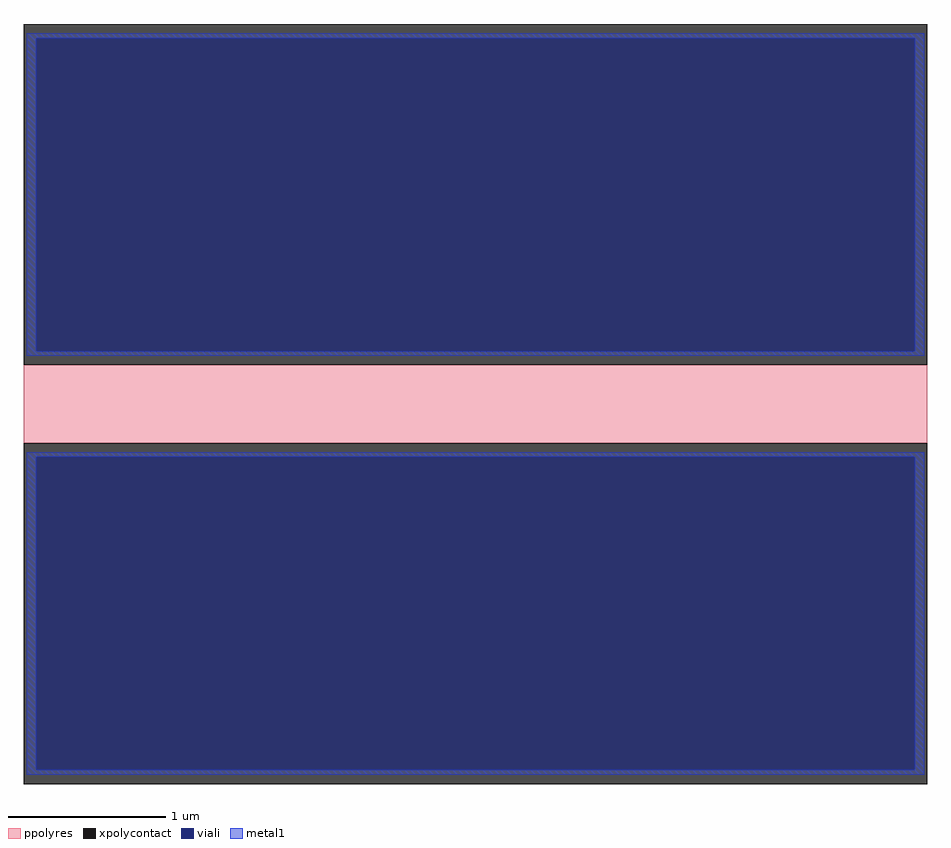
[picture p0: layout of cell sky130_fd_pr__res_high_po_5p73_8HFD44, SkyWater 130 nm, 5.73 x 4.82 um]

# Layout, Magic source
magic
tech sky130B
magscale 1 2
<< xpolycontact >>
rect -573 50 573 482
rect -573 -482 573 -50
<< ppolyres >>
rect -573 -50 573 50
<< viali >>
rect -557 67 557 464
rect -557 -464 557 -67
<< metal1 >>
rect -569 464 569 470
rect -569 67 -557 464
rect 557 67 569 464
rect -569 61 569 67
rect -569 -67 569 -61
rect -569 -464 -557 -67
rect 557 -464 569 -67
rect -569 -470 569 -464
<< properties >>
string gencell sky130_fd_pr__res_high_po_5p73
string library sky130
string parameters w 5.730 l 0.50 m 1 nx 1 wmin 5.730 lmin 0.50 rho 319.8 val 95.905 dummy 0 dw 0.0 term 194.82 sterm 0.0 caplen 0 guard 0 glc 0 grc 0 gtc 0 gbc 0 compatible {sky130_fd_pr__res_high_po_0p35  sky130_fd_pr__res_high_po_0p69 sky130_fd_pr__res_high_po_1p41  sky130_fd_pr__res_high_po_2p85 sky130_fd_pr__res_high_po_5p73} snake 0 full_metal 0 wmax 5.730 n_guard 0 hv_guard 0 vias 1 viagb 0 viagt 0 viagl 0 viagr 0
<< end >>
